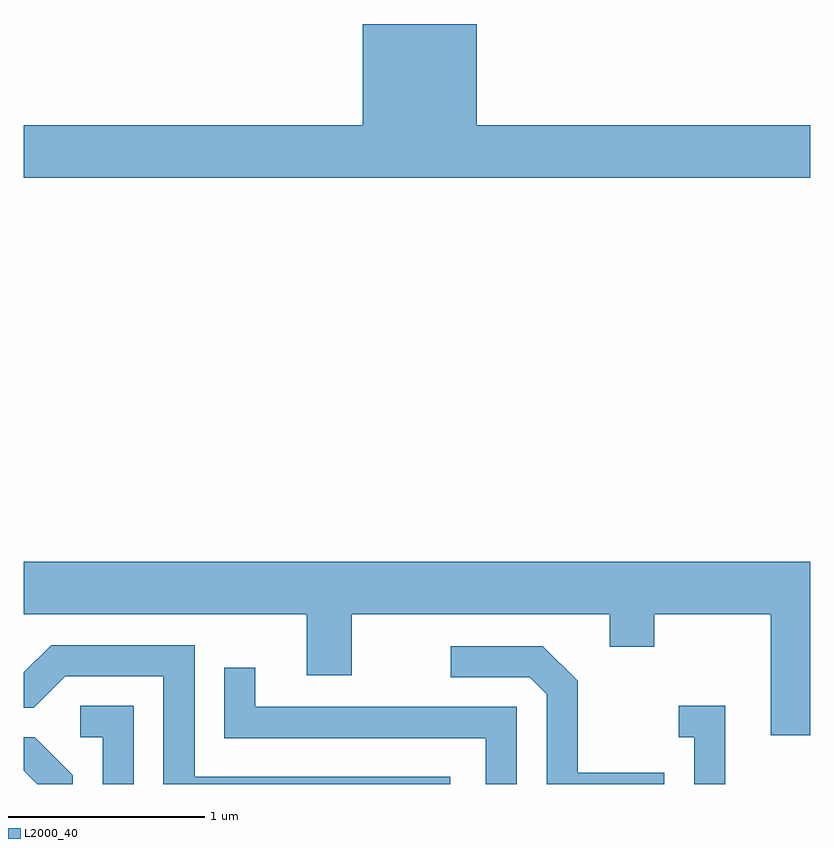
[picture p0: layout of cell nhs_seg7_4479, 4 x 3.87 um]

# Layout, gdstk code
import gdstk
lib = gdstk.Library(unit=1e-6, precision=1e-09)
def P(c, l, *ps):  # polygons
    for p in ps: c.add(gdstk.Polygon(p, *l))
L2000_40 = (2000, 40)

nhs_seg7_4479 = lib.new_cell('nhs_seg7_4479')
P(nhs_seg7_4479, L2000_40, [(325.611,1805.604),(323.914,1805.604),(323.914,1806.119),(323.336,1806.119),(323.336,1805.604),(321.611,1805.604),(321.611,1805.336),(325.611,1805.336)],
  [(325.611,1803.384),(321.611,1803.384),(321.611,1803.116),(323.051,1803.116),(323.051,1802.806),(323.279,1802.806),(323.279,1803.116),(324.591,1803.116),(324.591,1802.951),(324.819,1802.951),(324.819,1803.116),(325.411,1803.116),(325.411,1802.501),(325.611,1802.501)],
  [(323.779,1802.289),(322.479,1802.289),(322.479,1802.959),(321.749,1802.959),(321.611,1802.821),(321.611,1802.641),(321.662,1802.641),(321.822,1802.801),(322.321,1802.801),(322.321,1802.252),(323.779,1802.252)],
  [(324.869,1802.309),(324.429,1802.309),(324.429,1802.777),(324.252,1802.954),(323.783,1802.954),(323.783,1802.796),(324.184,1802.796),(324.271,1802.709),(324.271,1802.252),(324.869,1802.252)],
  [(324.119,1802.644),(322.789,1802.644),(322.789,1802.843),(322.631,1802.843),(322.631,1802.486),(323.961,1802.486),(323.961,1802.252),(324.119,1802.252)],
  [(325.179,1802.649),(324.943,1802.649),(324.943,1802.491),(325.021,1802.491),(325.021,1802.252),(325.179,1802.252)],
  [(322.169,1802.649),(321.898,1802.649),(321.898,1802.491),(322.011,1802.491),(322.011,1802.252),(322.169,1802.252)],
  [(321.859,1802.297),(321.667,1802.489),(321.611,1802.489),(321.611,1802.319),(321.678,1802.252),(321.859,1802.252)])

lib.write_gds('nhs_seg7_4479.gds')
